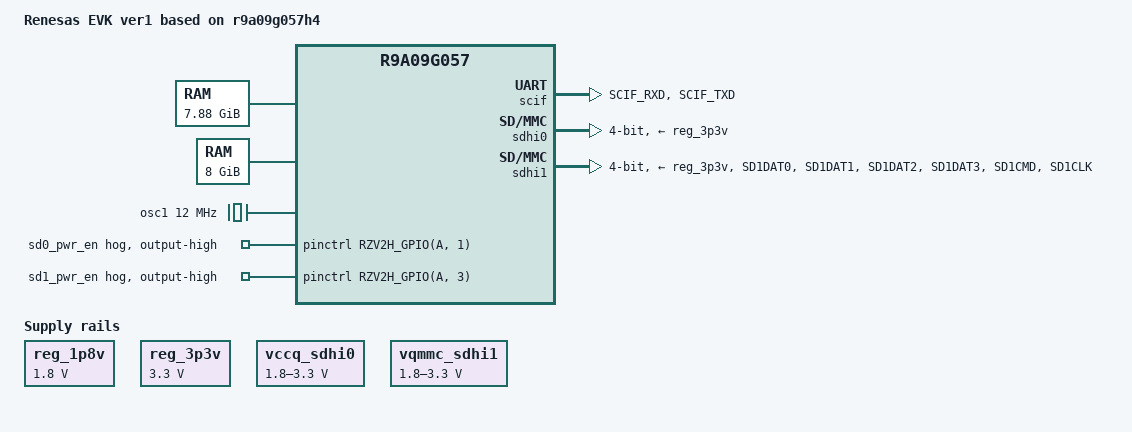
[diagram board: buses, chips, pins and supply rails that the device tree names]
// SPDX-License-Identifier: (GPL-2.0-only OR BSD-2-Clause)
/*
 * Device Tree Source for the RZ/V2H EVK ver1 board
 *
 * Copyright (C) 2024 Renesas Electronics Corp.
 */

/dts-v1/;
#include "r9a09g057.dtsi"
#include <dt-bindings/pinctrl/rzv2h-pinctrl.h>
#include <dt-bindings/gpio/gpio.h>

/ {
	model = "Renesas EVK ver1 based on r9a09g057h4";
	compatible = "renesas,r9a09g057h4-evk-ver1", "renesas,r9a09g057h4", "renesas,r9a09g057";

	aliases {
		serial0 = &scif;
		mmc0 = &sdhi0;
		mmc1 = &sdhi1;
		mmc2 = &sdhi2;
        };

	chosen {
		bootargs = "ignore_loglevel";
		stdout-path = "serial0:115200n8";
	};

	memory@48000000 {
		device_type = "memory";
		/* first 128MB is reserved for secure area. */
		reg = <0x0 0x48000000 0x1 0xF8000000>;
	};

	memory@240000000 {
		device_type = "memory";
		reg = <0x2 0x40000000 0x2 0x00000000>;
	};

	reserved-memory {
		#address-cells = <2>;
		#size-cells = <2>;
		ranges;

		global_cma: linux,cma@58000000 {
			compatible = "shared-dma-pool";
			linux,cma-default;
			reusable;
			reg = <0x0 0x58000000 0x0 0x10000000>;
		};

		mmp_reserved: linux,multimedia {
			compatible = "shared-dma-pool";
			reusable;
			reg = <0x00000000 0x68000000 0x0 0x20000000>;
		};

		isp: ISP@90000000 {
			compatible = "shared-dma-pool";
			reusable;
			reg = <0x0 0x90000000 0x0 0x18000000>;
		};

		image_buf0: image_buf@B0000000 {
			compatible = "shared-dma-pool";
			reusable;
			reg = <0x0 0xB0000000 0x0 0x4000000>;
			label = "image_buf0";
		};

		opencva_reserved: OpenCVA@C0000000 {
			reusable;
			reg = <0x0 0xC0000000 0x0 0x7D00000>;
		};

		drp_codec: DRP-Codec@C7D00000 {
			reusable;
			reg = <0x0 0xC7D00000 0x0 0x300000>;
		};

		drp_reserved: DRP-AI@240000000 {
			reusable;
			reg = <0x2 0x40000000 0x0 0x20000000>;
		};
	};

	reg_1p8v: regulator0 {
		compatible = "regulator-fixed";

		regulator-name = "fixed-1.8V";
		regulator-min-microvolt = <1800000>;
		regulator-max-microvolt = <1800000>;
		regulator-boot-on;
		regulator-always-on;
	};

	reg_3p3v: regulator1 {
		compatible = "regulator-fixed";

		regulator-name = "fixed-3.3V";
		regulator-min-microvolt = <3300000>;
		regulator-max-microvolt = <3300000>;
		regulator-boot-on;
		regulator-always-on;
	};

	vccq_sdhi0: regulator-vccq-sdhi0 {
		compatible = "regulator-gpio";

		regulator-name = "SDHI0 VccQ";
		regulator-min-microvolt = <1800000>;
		regulator-max-microvolt = <3300000>;

		gpios = <&pinctrl RZV2H_GPIO(A, 0) GPIO_ACTIVE_HIGH>;

		gpios-states = <0>;
		states = <3300000 0 1800000 1>;
	};

	vqmmc_sdhi1: regulator-vccq-sdhi1 {
		compatible = "regulator-gpio";

		regulator-name = "SDHI1 VccQ";
		regulator-min-microvolt = <1800000>;
		regulator-max-microvolt = <3300000>;

		gpios = <&pinctrl RZV2H_GPIO(A, 2) GPIO_ACTIVE_HIGH>;

		gpios-states = <0>;
		states = <3300000 0 1800000 1>;
	};

	osc1: cec-clock {
		compatible = "fixed-clock";
		#clock-cells = <0>;
		clock-frequency = <12000000>;
	};
};

&pinctrl {
	scif_pins: scif {
		pins =  "SCIF_RXD", "SCIF_TXD";
		renesas,output-impedance = <1>;
	};

	sd0_pwr_en {
		gpio-hog;
		gpios = <RZV2H_GPIO(A, 1) GPIO_ACTIVE_HIGH>;
		output-high;
		line-name = "sd0_pwr_en";
	};

	sd1_pwr_en {
		gpio-hog;
		gpios = <RZV2H_GPIO(A, 3) GPIO_ACTIVE_HIGH>;
		output-high;
		line-name = "sd1_pwr_en";
	};

	sdhi0_pins: sd0 {
		sd0_mux {
			pinmux = <RZV2H_PORT_PINMUX(A, 5, 15)>; /* SD0_CD */
		};
	};

	sdhi1_pins: sd1 {
		sd1_data {
			pins = "SD1DAT0", "SD1DAT1", "SD1DAT2", "SD1DAT3";
			input-enable;
			renesas,output-impedance = <3>;
			slew-rate = <1>;
		};

		sd1_cmd {
			pins = "SD1CMD";
			input-enable;
			renesas,output-impedance = <3>;
			slew-rate = <1>;
		};

		sd1_clk {
			pins = "SD1CLK";
			renesas,output-impedance = <3>;
			slew-rate = <1>;
		};

		sd1_cd {
			pinmux = <RZV2H_PORT_PINMUX(9, 4, 14)>; /* SD1_CD */
		};
	};

	usb30_pins: usb30 {
		pinmux = <RZV2H_PORT_PINMUX(B, 0, 14)>; /* VBUS */
	};

	usb31_pins: usb31 {
		pinmux = <RZV2H_PORT_PINMUX(6, 2, 14)>; /* VBUS */
	};

	usb20_pins: usb20 {
		pinmux = <RZV2H_PORT_PINMUX(9, 5, 14)>, /* VBUS */
			 <RZV2H_PORT_PINMUX(9, 6, 14)>; /* OVC */
	};

	usb21_pins: usb21 {
		pinmux = <RZV2H_PORT_PINMUX(6, 6, 14)>, /* VBUS */
			 <RZV2H_PORT_PINMUX(6, 7, 14)>; /* OVC */
	};
};

&qextal_clk {
	clock-frequency = <24000000>;
};

&scif {
	pinctrl-0 = <&scif_pins>;
	pinctrl-names = "default";

	status = "okay";
};

&sdhi0 {
	pinctrl-0 = <&sdhi0_pins>;
	pinctrl-names = "default";
	vmmc-supply = <&reg_3p3v>;
	vqmmc-supply = <&vccq_sdhi0>;
	bus-width = <4>;
	sd-uhs-sdr50;
	sd-uhs-sdr104;
	status = "okay";
};

&sdhi1 {
	pinctrl-0 = <&sdhi1_pins>;
	pinctrl-1 = <&sdhi1_pins>;
	pinctrl-names = "default","state_uhs";
	vmmc-supply = <&reg_3p3v>;
	vqmmc-supply = <&vqmmc_sdhi1>;
	bus-width = <4>;
	sd-uhs-sdr50;
	sd-uhs-sdr104;
	status = "okay";
};
